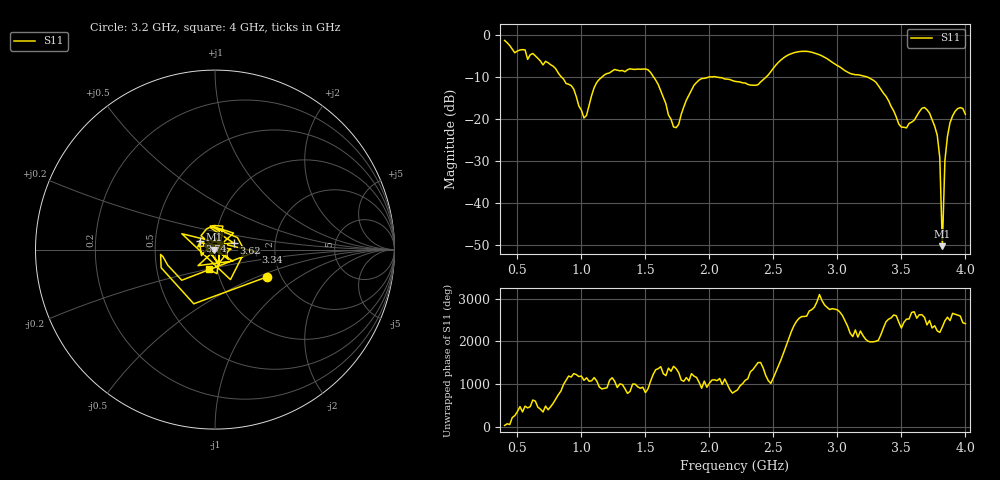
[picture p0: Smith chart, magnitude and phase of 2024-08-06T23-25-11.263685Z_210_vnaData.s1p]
!Created with skrf (http://scikit-rf.org).
# Hz S RI R 50.0
!freq ReS11 ImS11
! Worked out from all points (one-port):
!   181 points, 400 MHz to 4 GHz, reference 50 ohm
!   lowest |S11| = -50.3 dB at 3.82 GHz (marker M1), VSWR 1.01, Z = 49.7 + j0.0258 ohm
!   |S11| at or under -10 dB: 1.566 GHz to 1.988 GHz (422.4 MHz wide, 23.8 % of centre); 2.07 GHz to 2.441 GHz (370.6 MHz wide, 16.4 % of centre); 3.241 GHz to end of sweep (the widest 3 of 4)
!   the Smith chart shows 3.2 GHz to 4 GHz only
!   S11 on the Smith chart (normalised r, x): 3.2 GHz: 1.70, -0.58; 3.34 GHz: 1.59, -0.04; 3.62 GHz: 1.23, +0.09; 3.74 GHz: 0.84, +0.08; 4 GHz: 0.91, -0.20
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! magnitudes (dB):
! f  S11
! 400 MHz  -1.2
! 860 MHz  -10.4
! 940 MHz  -12.8
! 1.02 GHz  -19.7
! 1.12 GHz  -11.2
! 1.3 GHz  -8.4
! 1.52 GHz  -8.2
! 1.72 GHz  -21.8
! 1.76 GHz  -21.2
! 1.92 GHz  -10.6
! 2.2 GHz  -11.0
! 2.38 GHz  -11.8
! 2.66 GHz  -4.1
! 3.1 GHz  -9.1
! 3.2 GHz  -9.7
! 3.34 GHz  -12.9
! 3.48 GHz  -21.2
! 3.56 GHz  -21.0
! 3.62 GHz  -19.2
! 3.68 GHz  -17.2
! 3.74 GHz  -20.1
! 3.78 GHz  -23.8
! 3.8 GHz  -29.1
! 3.82 GHz  -50.3
! 3.84 GHz  -29.8
! 3.86 GHz  -24.0
! 3.92 GHz  -18.1
! 4 GHz  -18.8
